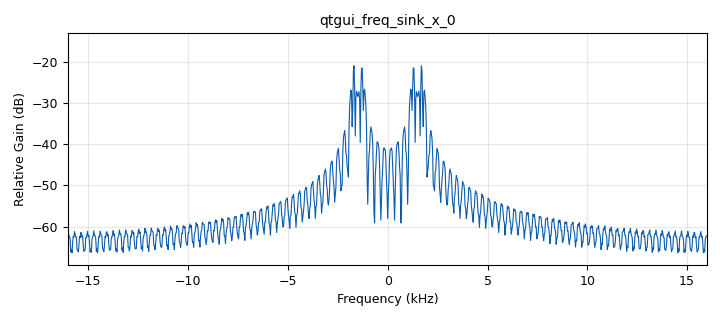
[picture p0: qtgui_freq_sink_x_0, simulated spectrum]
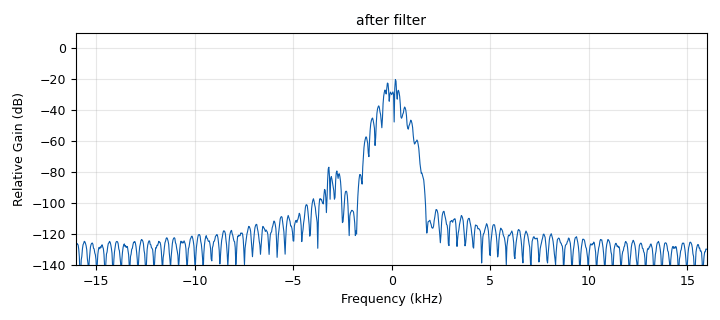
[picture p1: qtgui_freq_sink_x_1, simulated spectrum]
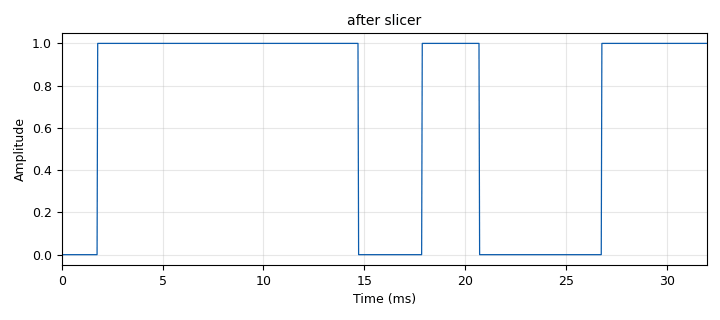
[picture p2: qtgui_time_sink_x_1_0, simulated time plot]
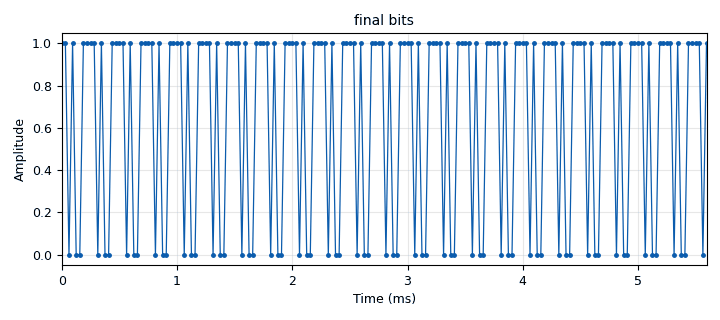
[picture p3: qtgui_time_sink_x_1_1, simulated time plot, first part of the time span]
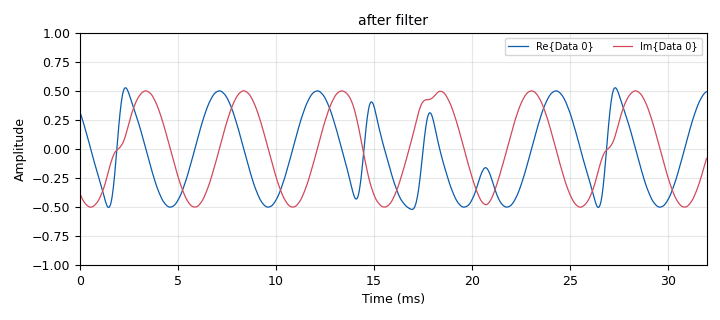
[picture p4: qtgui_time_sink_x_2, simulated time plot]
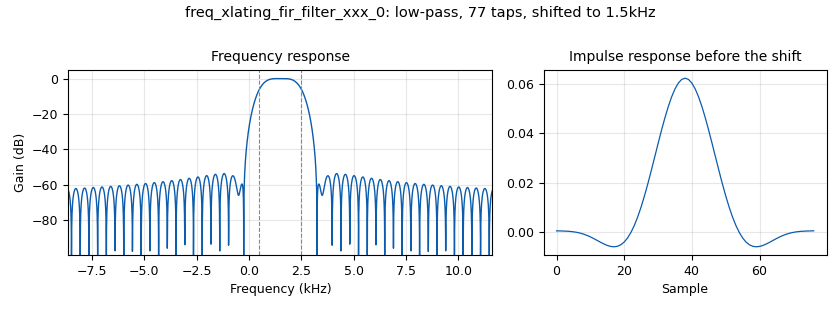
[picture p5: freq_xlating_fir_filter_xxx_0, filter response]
options:
  parameters:
    author: wcc
    generate_options: qt_gui
    id: lab1_fsk_mod_demod
    output_language: python
    title: lab1_fsk_mod_demod
  states: {}

blocks:
- name: fc
  id: variable_qtgui_range
  parameters:
    label: carrier frequency
    orient: Qt.Horizontal
    start: '1500'
    step: '1'
    stop: '2000'
    value: '1500'
  states: {}
- name: fd
  id: variable_qtgui_range
  parameters:
    label: delta freq
    orient: Qt.Horizontal
    start: '200'
    step: '1'
    stop: '500'
    value: '200'
  states: {}
- name: samp_rate
  id: variable
  parameters:
    value: '32000'
  states: {}
- name: analog_const_source_x_0
  id: analog_const_source_x
  parameters:
    const: '1'
    type: float
  states: {}
- name: analog_quadrature_demod_cf_0
  id: analog_quadrature_demod_cf
  parameters:
    gain: '10'
  states: {}
- name: analog_sig_source_x_0
  id: analog_sig_source_x
  parameters:
    amp: '1'
    freq: fc+fd
    offset: '0'
    phase: '0'
    samp_rate: samp_rate
    type: float
    waveform: analog.GR_COS_WAVE
  states: {}
- name: analog_sig_source_x_0_0
  id: analog_sig_source_x
  parameters:
    amp: '1'
    freq: fc-fd
    offset: '0'
    phase: '0'
    samp_rate: samp_rate
    type: float
    waveform: analog.GR_COS_WAVE
  states: {}
- name: blocks_add_xx_0
  id: blocks_add_xx
  parameters:
    type: float
  states: {}
- name: blocks_char_to_float_0
  id: blocks_char_to_float
  parameters:
    scale: '1'
  states: {}
- name: blocks_char_to_float_1
  id: blocks_char_to_float
  parameters:
    scale: '1'
  states: {}
- name: blocks_char_to_float_1_0
  id: blocks_char_to_float
  parameters:
    scale: '1'
  states: {}
- name: blocks_keep_one_in_n_0
  id: blocks_keep_one_in_n
  parameters:
    n: '100'
    type: byte
  states: {}
- name: blocks_multiply_xx_0
  id: blocks_multiply_xx
  parameters:
    type: float
  states: {}
- name: blocks_multiply_xx_0_0
  id: blocks_multiply_xx
  parameters:
    type: float
  states: {}
- name: blocks_repeat_0
  id: blocks_repeat
  parameters:
    interp: '100'
    type: byte
  states: {}
- name: blocks_sub_xx_0
  id: blocks_sub_xx
  parameters:
    type: float
  states: {}
- name: blocks_throttle_0
  id: blocks_throttle
  parameters:
    samples_per_second: samp_rate
    type: byte
  states: {}
- name: blocks_vector_source_x_0
  id: blocks_vector_source_x
  parameters:
    repeat: 'True'
    type: byte
    vector: (1, 1, 0,1,0, 0, 1,1)
  states: {}
- name: digital_binary_slicer_fb_0
  id: digital_binary_slicer_fb
  parameters: {}
  states: {}
- name: freq_xlating_fir_filter_xxx_0
  id: freq_xlating_fir_filter_xxx
  parameters:
    center_freq: fc
    decim: '1'
    samp_rate: samp_rate
    taps: ' firdes.low_pass(1,samp_rate,1e3,1e3)'
    type: fcf
  states: {}
- name: qtgui_freq_sink_x_0
  id: qtgui_freq_sink_x
  parameters:
    autoscale: 'True'
    bw: samp_rate
    fc: '0'
    fftsize: '1024'
    type: float
    wintype: firdes.WIN_BLACKMAN_hARRIS
  states: {}
- name: qtgui_freq_sink_x_1
  id: qtgui_freq_sink_x
  parameters:
    bw: samp_rate
    fc: '0'
    fftsize: '1024'
    name: after filter
    type: complex
    wintype: firdes.WIN_BLACKMAN_hARRIS
  states: {}
- name: qtgui_time_sink_x_1_0
  id: qtgui_time_sink_x
  parameters:
    autoscale: 'True'
    name: after slicer
    size: '1024'
    srate: samp_rate
    type: float
  states: {}
- name: qtgui_time_sink_x_1_1
  id: qtgui_time_sink_x
  parameters:
    autoscale: 'True'
    marker1: '0'
    name: final bits
    size: '1024'
    srate: samp_rate
    type: float
  states: {}
- name: qtgui_time_sink_x_2
  id: qtgui_time_sink_x
  parameters:
    name: after filter
    size: '1024'
    srate: samp_rate
    type: complex
  states: {}

connections:
- [analog_const_source_x_0, '0', blocks_sub_xx_0, '0']
- [analog_quadrature_demod_cf_0, '0', digital_binary_slicer_fb_0, '0']
- [analog_sig_source_x_0, '0', blocks_multiply_xx_0, '0']
- [analog_sig_source_x_0_0, '0', blocks_multiply_xx_0_0, '1']
- [blocks_add_xx_0, '0', freq_xlating_fir_filter_xxx_0, '0']
- [blocks_add_xx_0, '0', qtgui_freq_sink_x_0, '0']
- [blocks_char_to_float_0, '0', blocks_multiply_xx_0, '1']
- [blocks_char_to_float_0, '0', blocks_sub_xx_0, '1']
- [blocks_char_to_float_1, '0', qtgui_time_sink_x_1_0, '0']
- [blocks_char_to_float_1_0, '0', qtgui_time_sink_x_1_1, '0']
- [blocks_keep_one_in_n_0, '0', blocks_char_to_float_1_0, '0']
- [blocks_multiply_xx_0, '0', blocks_add_xx_0, '0']
- [blocks_multiply_xx_0_0, '0', blocks_add_xx_0, '1']
- [blocks_repeat_0, '0', blocks_throttle_0, '0']
- [blocks_sub_xx_0, '0', blocks_multiply_xx_0_0, '0']
- [blocks_throttle_0, '0', blocks_char_to_float_0, '0']
- [blocks_vector_source_x_0, '0', blocks_repeat_0, '0']
- [digital_binary_slicer_fb_0, '0', blocks_char_to_float_1, '0']
- [digital_binary_slicer_fb_0, '0', blocks_keep_one_in_n_0, '0']
- [freq_xlating_fir_filter_xxx_0, '0', analog_quadrature_demod_cf_0, '0']
- [freq_xlating_fir_filter_xxx_0, '0', qtgui_freq_sink_x_1, '0']
- [freq_xlating_fir_filter_xxx_0, '0', qtgui_time_sink_x_2, '0']

metadata:
  file_format: 1
